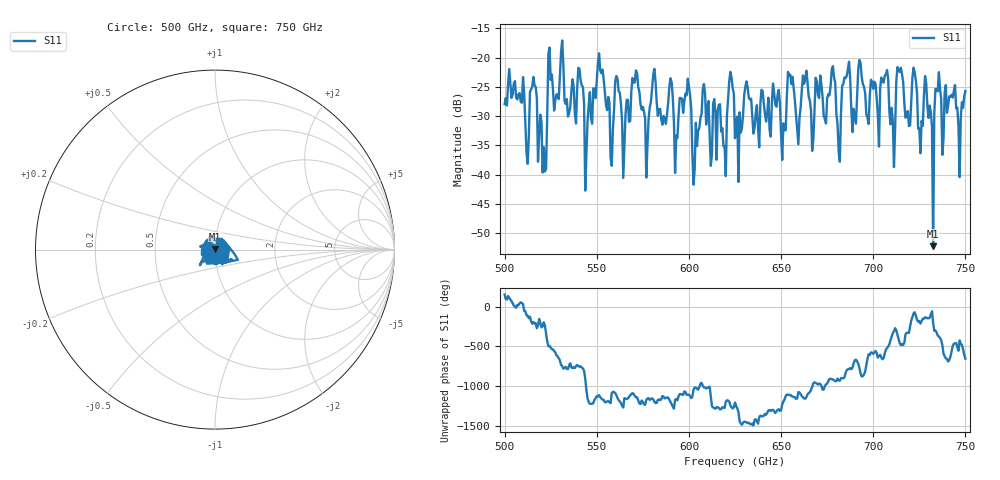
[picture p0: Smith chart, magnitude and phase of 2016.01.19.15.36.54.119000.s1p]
!Created with skrf (http://scikit-rf.org).
# GHz S RI R 50.0
!freq ReS11 ImS11
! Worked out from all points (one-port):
!   401 points, 500 GHz to 750 GHz, reference 50 ohm
!   lowest |S11| = -52.2 dB at 732.5 GHz (marker M1), VSWR 1.00, Z = 49.8 + j0.0961 ohm
!   |S11| at or under -10 dB: start of sweep to end of sweep
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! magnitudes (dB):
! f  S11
! 500 GHz  -28.0
! 512.5 GHz  -38.1
! 515.6 GHz  -23.3
! 521.2 GHz  -35.3
! 524.4 GHz  -18.3
! 531.2 GHz  -17.1
! 541.2 GHz  -23.9
! 544.4 GHz  -36.5
! 551.9 GHz  -22.2
! 558.1 GHz  -38.5
! 562.5 GHz  -26.0
! 593.8 GHz  -33.7
! 599.4 GHz  -23.6
! 625 GHz  -33.7
! 651.2 GHz  -31.2
! 656.2 GHz  -23.3
! 666.9 GHz  -35.9
! 678.1 GHz  -21.5
! 681.2 GHz  -36.0
! 687.5 GHz  -23.7
! 706.9 GHz  -22.9
! 710.6 GHz  -30.9
! 714.4 GHz  -22.5
! 718.8 GHz  -29.1
! 722.5 GHz  -22.6
! 732.5 GHz  -52.2
! 735 GHz  -25.8
! 750 GHz  -25.7
